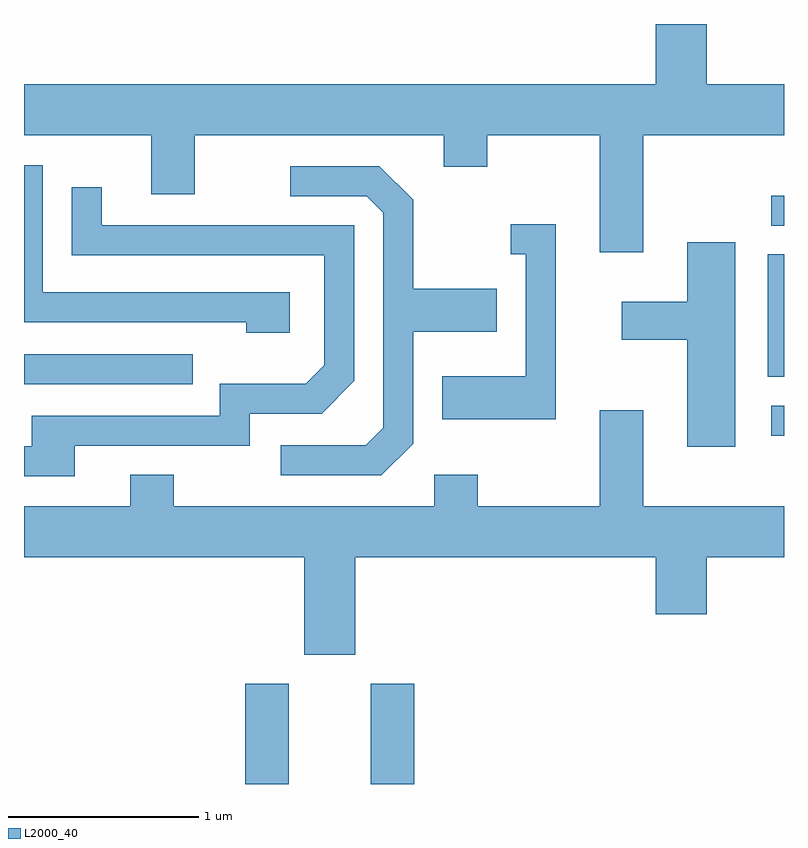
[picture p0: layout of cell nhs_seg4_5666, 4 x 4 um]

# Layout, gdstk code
import gdstk
lib = gdstk.Library(unit=1e-6, precision=1e-09)
def R(c, l, rs):  # rectangles x0, y0, x1, y1
    for r in rs: c.add(gdstk.rectangle(r[:2], r[2:], *l))
def P(c, l, *ps):  # polygons
    for p in ps: c.add(gdstk.Polygon(p, *l))
L2000_40 = (2000, 40)

nhs_seg4_5666 = lib.new_cell('nhs_seg4_5666')
R(nhs_seg4_5666, L2000_40, [(352.776,1297.982,353.004,1298.509), (353.436,1297.982,353.664,1298.509), (355.543,1299.816,355.611,1299.974), (351.611,1300.086,352.498,1300.244), (355.526,1300.126,355.611,1300.769), (355.543,1300.921,355.611,1301.079)])
P(nhs_seg4_5666, L2000_40, [(354.869,1301.396),(355.611,1301.396),(355.611,1301.664),(355.204,1301.664),(355.204,1301.982),(354.936,1301.982),(354.936,1301.664),(351.611,1301.664),(351.611,1301.396),(352.281,1301.396),(352.281,1301.086),(352.509,1301.086),(352.509,1301.396),(353.821,1301.396),(353.821,1301.231),(354.049,1301.231),(354.049,1301.396),(354.641,1301.396),(354.641,1300.781),(354.869,1300.781)],
  [(353.009,1300.569),(351.709,1300.569),(351.709,1301.239),(351.611,1301.239),(351.611,1300.411),(352.781,1300.411),(352.781,1300.356),(353.009,1300.356)],
  [(353.659,1299.774),(353.659,1300.361),(354.099,1300.361),(354.099,1300.589),(353.659,1300.589),(353.659,1301.057),(353.482,1301.234),(353.013,1301.234),(353.013,1301.076),(353.414,1301.076),(353.501,1300.989),(353.501,1299.857),(353.409,1299.764),(352.963,1299.764),(352.963,1299.606),(353.492,1299.606)],
  [(351.879,1299.761),(352.799,1299.761),(352.799,1299.931),(353.177,1299.931),(353.349,1300.104),(353.349,1300.924),(352.019,1300.924),(352.019,1301.123),(351.861,1301.123),(351.861,1300.766),(353.191,1300.766),(353.191,1300.187),(353.094,1300.089),(352.641,1300.089),(352.641,1299.919),(351.651,1299.919),(351.651,1299.759),(351.611,1299.759),(351.611,1299.601),(351.879,1299.601)],
  [(354.409,1300.929),(354.173,1300.929),(354.173,1300.771),(354.251,1300.771),(354.251,1300.129),(353.811,1300.129),(353.811,1299.901),(354.409,1299.901)],
  [(355.354,1300.834),(355.101,1300.834),(355.101,1300.519),(354.756,1300.519),(354.756,1300.321),(355.101,1300.321),(355.101,1299.756),(355.354,1299.756)],
  [(353.354,1299.176),(354.936,1299.176),(354.936,1298.876),(355.204,1298.876),(355.204,1299.176),(355.611,1299.176),(355.611,1299.444),(354.869,1299.444),(354.869,1299.949),(354.641,1299.949),(354.641,1299.444),(353.999,1299.444),(353.999,1299.609),(353.771,1299.609),(353.771,1299.444),(352.399,1299.444),(352.399,1299.609),(352.171,1299.609),(352.171,1299.444),(351.611,1299.444),(351.611,1299.176),(353.086,1299.176),(353.086,1298.661),(353.354,1298.661)])

lib.write_gds('nhs_seg4_5666.gds')
